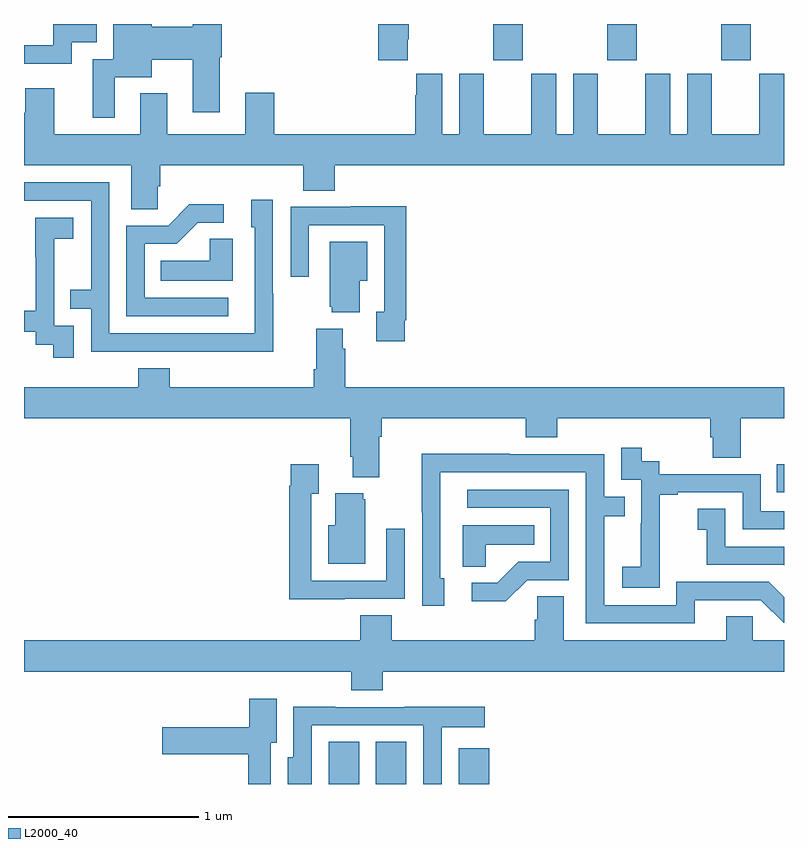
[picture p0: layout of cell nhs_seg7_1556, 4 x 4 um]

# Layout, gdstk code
import gdstk
lib = gdstk.Library(unit=1e-6, precision=1e-09)
def R(c, l, rs):  # rectangles x0, y0, x1, y1
    for r in rs: c.add(gdstk.rectangle(r[:2], r[2:], *l))
def A(c, l, x, y, w, h, nx, ny, dx, dy):  # array of equal rectangles
    R(c, l, [(x+i*dx, y+j*dy, x+i*dx+w, y+j*dy+h) for i in range(nx) for j in range(ny)])
def P(c, l, *ps):  # polygons
    for p in ps: c.add(gdstk.Polygon(p, *l))
L2000_40 = (2000, 40)

nhs_seg7_1556 = lib.new_cell('nhs_seg7_1556')
A(nhs_seg7_1556, L2000_40, 219.469, 1027.809, 0.155, 0.191, 3, 1, 0.6, 0)
R(nhs_seg7_1556, L2000_40, [(218.603,1024,218.764,1024.223), (218.852,1024,219.013,1024.223), (219.287,1024,219.448,1024.189), (220.963,1025.535,221,1025.683)])
P(nhs_seg7_1556, L2000_40, [(217.251,1027.905),(217.384,1027.905),(217.384,1028),(217.155,1028),(217.155,1027.887),(217,1027.887),(217,1027.791),(217.251,1027.791)],
  [(217.477,1027.721),(217.672,1027.721),(217.672,1027.813),(217.889,1027.813),(217.889,1027.536),(218.029,1027.536),(218.029,1027.824),(218.042,1027.824),(218.042,1028),(217.889,1028),(217.889,1027.985),(217.672,1027.985),(217.672,1028),(217.47,1028),(217.47,1027.815),(217.361,1027.815),(217.361,1027.506),(217.477,1027.506)],
  [(219.019,1027.921),(219.024,1027.921),(219.024,1028),(218.864,1028),(218.864,1027.809),(219.019,1027.809)],
  [(221,1027.738),(220.871,1027.738),(220.871,1027.42),(220.621,1027.42),(220.621,1027.738),(220.49,1027.738),(220.49,1027.42),(220.402,1027.42),(220.402,1027.738),(220.271,1027.738),(220.271,1027.42),(220.021,1027.42),(220.021,1027.738),(219.89,1027.738),(219.89,1027.42),(219.802,1027.42),(219.802,1027.738),(219.671,1027.738),(219.671,1027.42),(219.421,1027.42),(219.421,1027.738),(219.29,1027.738),(219.29,1027.42),(219.202,1027.42),(219.202,1027.738),(219.065,1027.738),(219.065,1027.625),(219.059,1027.625),(219.059,1027.42),(218.318,1027.42),(218.318,1027.639),(218.165,1027.639),(218.165,1027.42),(217.753,1027.42),(217.753,1027.636),(217.613,1027.636),(217.613,1027.42),(217.159,1027.42),(217.159,1027.663),(217.007,1027.663),(217.007,1027.533),(217,1027.533),(217,1027.256),(217.565,1027.256),(217.565,1027.024),(217.704,1027.024),(217.704,1027.147),(217.718,1027.147),(217.718,1027.256),(218.471,1027.256),(218.471,1027.123),(218.636,1027.123),(218.636,1027.256),(221,1027.256)],
  [(218.313,1026.581),(218.31,1026.581),(218.31,1027.075),(218.195,1027.075),(218.195,1026.93),(218.214,1026.93),(218.214,1026.372),(217.449,1026.372),(217.449,1027.167),(217,1027.167),(217,1027.071),(217.353,1027.071),(217.353,1026.602),(217.243,1026.602),(217.243,1026.501),(217.353,1026.501),(217.353,1026.276),(217.849,1026.276),(217.849,1026.275),(218.313,1026.275)],
  [(218.074,1026.558),(217.635,1026.558),(217.635,1026.843),(217.804,1026.843),(217.915,1026.954),(218.05,1026.954),(218.05,1027.052),(217.871,1027.052),(217.758,1026.939),(217.539,1026.939),(217.539,1026.462),(218.074,1026.462)],
  [(219.004,1026.442),(219.011,1026.442),(219.011,1027.04),(218.719,1027.04),(218.719,1027.038),(218.403,1027.038),(218.403,1026.669),(218.499,1026.669),(218.499,1026.942),(218.895,1026.942),(218.895,1026.486),(218.855,1026.486),(218.855,1026.33),(219.004,1026.33)],
  [(217.263,1026.411),(217.158,1026.411),(217.158,1026.641),(217.16,1026.641),(217.16,1026.869),(217.258,1026.869),(217.258,1026.979),(217.06,1026.979),(217.06,1026.773),(217.061,1026.773),(217.061,1026.49),(217,1026.49),(217,1026.381),(217.062,1026.381),(217.062,1026.313),(217.155,1026.313),(217.155,1026.243),(217.263,1026.243)],
  [(218.098,1026.869),(217.977,1026.869),(217.977,1026.754),(217.72,1026.754),(217.72,1026.65),(218.098,1026.65)],
  [(218.767,1026.65),(218.806,1026.65),(218.806,1026.853),(218.609,1026.853),(218.609,1026.513),(218.621,1026.513),(218.621,1026.482),(218.767,1026.482)],
  [(218.69,1026.29),(218.677,1026.29),(218.677,1026.397),(218.537,1026.397),(218.537,1026.184),(218.525,1026.184),(218.525,1026.088),(217.766,1026.088),(217.766,1026.187),(217.601,1026.187),(217.601,1026.088),(217,1026.088),(217,1025.924),(218.717,1025.924),(218.717,1025.722),(218.729,1025.722),(218.729,1025.615),(218.869,1025.615),(218.869,1025.828),(218.882,1025.828),(218.882,1025.924),(219.641,1025.924),(219.641,1025.825),(219.806,1025.825),(219.806,1025.924),(220.613,1025.924),(220.613,1025.826),(220.625,1025.826),(220.625,1025.716),(220.773,1025.716),(220.773,1025.924),(221,1025.924),(221,1026.088),(218.69,1026.088)],
  [(220.347,1025.239),(220.346,1025.239),(220.346,1025.523),(220.441,1025.523),(220.441,1025.535),(220.782,1025.535),(220.782,1025.34),(221,1025.34),(221,1025.436),(220.878,1025.436),(220.878,1025.631),(220.344,1025.631),(220.344,1025.7),(220.252,1025.7),(220.252,1025.77),(220.143,1025.77),(220.143,1025.601),(220.248,1025.601),(220.248,1025.372),(220.247,1025.372),(220.247,1025.143),(220.149,1025.143),(220.149,1025.033),(220.347,1025.033)],
  [(220.531,1024.968),(220.878,1024.968),(220.998,1024.848),(221,1024.848),(221,1024.984),(220.92,1025.064),(220.434,1025.064),(220.434,1024.941),(220.053,1024.941),(220.053,1025.41),(220.163,1025.41),(220.163,1025.511),(220.053,1025.511),(220.053,1025.736),(219.557,1025.736),(219.557,1025.738),(219.094,1025.738),(219.094,1025.431),(219.096,1025.431),(219.096,1024.938),(219.211,1024.938),(219.211,1025.082),(219.192,1025.082),(219.192,1025.64),(219.957,1025.64),(219.957,1024.845),(220.531,1024.845)],
  [(218.687,1024.974),(219.003,1024.974),(219.003,1025.344),(218.907,1025.344),(218.907,1025.07),(218.511,1025.07),(218.511,1025.527),(218.551,1025.527),(218.551,1025.683),(218.403,1025.683),(218.403,1025.57),(218.395,1025.57),(218.395,1024.973),(218.687,1024.973)],
  [(219.648,1025.073),(219.867,1025.073),(219.867,1025.55),(219.333,1025.55),(219.333,1025.454),(219.771,1025.454),(219.771,1025.169),(219.602,1025.169),(219.491,1025.058),(219.357,1025.058),(219.357,1024.961),(219.535,1024.961)],
  [(218.797,1025.499),(218.786,1025.499),(218.786,1025.53),(218.639,1025.53),(218.639,1025.362),(218.6,1025.362),(218.6,1025.159),(218.797,1025.159)],
  [(221,1025.25),(220.692,1025.25),(220.692,1025.449),(220.545,1025.449),(220.545,1025.339),(220.594,1025.339),(220.594,1025.154),(220.997,1025.154),(221,1025.151)],
  [(219.429,1025.258),(219.686,1025.258),(219.686,1025.362),(219.308,1025.362),(219.308,1025.143),(219.429,1025.143)],
  [(218.888,1024.592),(221,1024.592),(221,1024.756),(220.836,1024.756),(220.836,1024.883),(220.697,1024.883),(220.697,1024.756),(219.841,1024.756),(219.841,1024.988),(219.702,1024.988),(219.702,1024.865),(219.689,1024.865),(219.689,1024.756),(218.936,1024.756),(218.936,1024.889),(218.771,1024.889),(218.771,1024.756),(217,1024.756),(217,1024.592),(218.723,1024.592),(218.723,1024.493),(218.888,1024.493)],
  [(218.299,1024.217),(218.329,1024.217),(218.329,1024.45),(218.186,1024.45),(218.186,1024.299),(217.728,1024.299),(217.728,1024.157),(218.181,1024.157),(218.181,1024),(218.299,1024)],
  [(218.514,1024.308),(219.102,1024.308),(219.102,1024),(219.198,1024),(219.198,1024.298),(219.424,1024.298),(219.424,1024.406),(219.005,1024.406),(219.005,1024.404),(218.639,1024.404),(218.639,1024.406),(218.418,1024.406),(218.418,1024.14),(218.387,1024.14),(218.387,1024),(218.514,1024)])

lib.write_gds('nhs_seg7_1556.gds')
